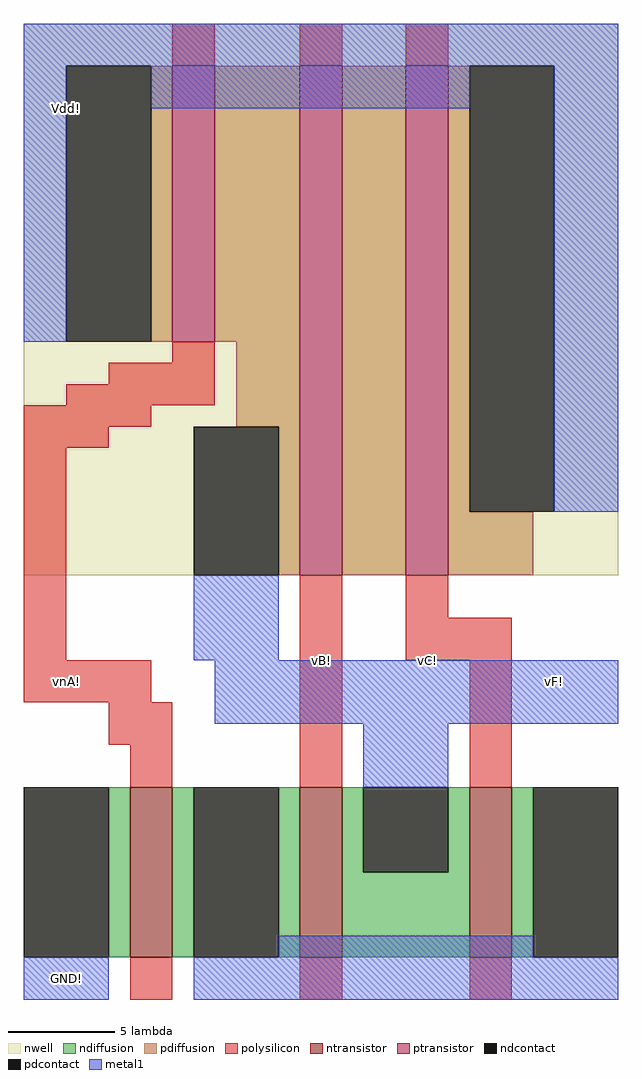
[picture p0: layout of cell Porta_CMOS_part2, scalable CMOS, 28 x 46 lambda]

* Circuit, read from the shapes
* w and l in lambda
.subckt Porta_CMOS_part2 GND! Vdd! vB! vC! vF! vnA!
M1 n1 vnA! GND! VSUBS nfet w=8 l=2
M2 vF! vB! n1 VSUBS nfet w=8 l=2
M3 n1 vC! vF! VSUBS nfet w=8 l=2
M4 vF! vnA! Vdd! n2 pfet w=13 l=2
M5 n3 vB! vF! n2 pfet w=24 l=2
M6 Vdd! vC! n3 n2 pfet w=24 l=2
.ends

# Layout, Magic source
magic
tech scmos
<< nwell >>
rect -12 -15 16 11
<< polysilicon >>
rect -5 9 -3 11
rect 1 9 3 11
rect 6 9 8 11
rect -5 -5 -3 -4
rect -8 -6 -3 -5
rect -10 -7 -3 -6
rect -12 -8 -6 -7
rect -12 -9 -8 -8
rect -12 -19 -10 -9
rect -12 -21 -6 -19
rect -8 -23 -5 -21
rect -7 -25 -5 -23
rect 1 -25 3 -15
rect 6 -17 8 -15
rect 6 -19 11 -17
rect 9 -25 11 -19
rect -7 -35 -5 -33
rect 1 -35 3 -33
rect 9 -35 11 -33
<< ndiffusion >>
rect -8 -33 -7 -25
rect -5 -33 -4 -25
rect 0 -33 1 -25
rect 3 -29 4 -25
rect 8 -29 9 -25
rect 3 -33 9 -29
rect 11 -33 12 -25
<< pdiffusion >>
rect -6 -4 -5 9
rect -3 -4 1 9
rect -2 -8 1 -4
rect 0 -15 1 -8
rect 3 -15 6 9
rect 8 -12 9 9
rect 8 -15 12 -12
<< metal1 >>
rect -12 9 16 11
rect -12 -4 -10 9
rect -6 7 9 9
rect 13 -12 16 9
rect -4 -19 0 -15
rect -3 -22 16 -19
rect 4 -25 8 -22
rect -12 -35 -8 -33
rect 0 -33 12 -32
rect -4 -35 16 -33
<< ntransistor >>
rect -7 -33 -5 -25
rect 1 -33 3 -25
rect 9 -33 11 -25
<< ptransistor >>
rect -5 -4 -3 9
rect 1 -15 3 9
rect 6 -15 8 9
<< ndcontact >>
rect -12 -33 -8 -25
rect -4 -33 0 -25
rect 4 -29 8 -25
rect 12 -33 16 -25
<< pdcontact >>
rect -10 -4 -6 9
rect -4 -15 0 -8
rect 9 -12 13 9
<< labels >>
rlabel metal1 -10 7 -10 7 4 Vdd!
rlabel polysilicon 2 -19 2 -19 1 vB!
rlabel polysilicon 7 -19 7 -19 1 vC!
rlabel polysilicon -10 -20 -10 -20 3 vnA!
rlabel metal1 13 -20 13 -20 7 vF!
rlabel metal1 -10 -34 -10 -34 2 GND!
<< end >>
